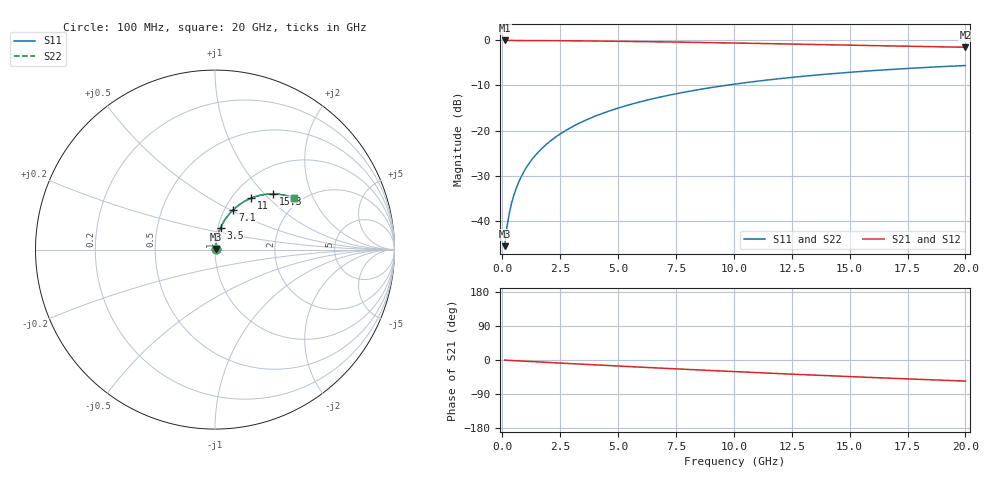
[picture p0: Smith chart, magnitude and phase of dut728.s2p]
! Touchstone file exported from HFSS 2026.1.0
!  File:  C:/ffzhzh/LocalFiles/Ansys_Project_Files/temp_train_BSMRDL_728_1783168477_43440.aedt
!  Generated:  08:36:01 PM Jul  4, 2026
!  Design:  BSMRDL
!  Project:  temp_train_BSMRDL_728_1783168477_43440
! Variables:
!  h_bsmrdl = 5.45um
!  h_ox = 20um
!  h_rdl = 5um
!  h_sub = 80um
!  h_tmrdl = 5um
!  h_tsv = 80um
!  h_via = 3um
!  l_bsmrdl = 839.75um
!  l_sub = 1239.75um
!  l_tmrdl = 200um
!  m_sub = 200um
!  pitch = 49.65um
!  r_tsv = 6um
!  s_tmrdl = 10um
!  w_bsmrdl = 15.97um
!  w_sub = 500um
!  w_tmrdl = 12um
!  x_tsv_center1 = 206um
!  x_tsv_center2 = 1061.72um
!  x_tsv_center3 = 1273.72um
!  x_tsv_center4 = 2129.44um
!  x_tsv_center5 = 2341.44um
!  x_tsv_center6 = 3197.16um
# GHz S MA R 50.000000
! Terminal data exported
! Port[1] = BSM_RDL1_1_T1
! Port[2] = BSM_RDL1_1_T2
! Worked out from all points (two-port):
!   200 points, 100 MHz to 20 GHz, reference 50 ohm
!   highest |S21| = -0.03 dB at 100 MHz (marker M1); lowest = -1.5 dB at 20 GHz (marker M2)
!   |S21| within 3 dB of the highest: start of sweep to end of sweep
!   lowest |S11| = -45.6 dB at 100 MHz (marker M3), VSWR 1.01, Z = 50.4 + j0.391 ohm
!   |S11| at or under -10 dB: start of sweep to 9.628 GHz
!   |S22| runs from -45.6 to -5.6 dB; largest |S21 - S12| = 1.8e-14
!   S11 on the Smith chart (normalised r, x): 100 MHz: 1.01, +0.01; 3.5 GHz: 1.03, +0.26; 7.1 GHz: 1.10, +0.52; 11 GHz: 1.22, +0.80; 15.3 GHz: 1.44, +1.12; 20 GHz: 1.84, +1.45
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0.1  0.005239 47.8  0.9965 -0.3  0.9965 -0.3  0.005239 47.8
! Gamma 0 0 0 0
! Port Impedance 50 0 50 0
0.2  0.008535 64.2  0.9963 -0.7  0.9963 -0.7  0.008535 64.2
0.3  0.01208 70.8  0.9962 -1.0  0.9962 -1.0  0.01208 70.9
0.4  0.01567 74.4  0.996 -1.3  0.996 -1.3  0.01567 74.4
0.5  0.01928 76.5  0.9959 -1.7  0.9959 -1.7  0.01928 76.5
0.7  0.02656 78.8  0.9956 -2.3  0.9956 -2.3  0.02656 78.8
1  0.03752 80.1  0.995 -3.3  0.995 -3.3  0.03752 80.1
1.4  0.05213 80.4  0.9941 -4.6  0.9941 -4.6  0.05213 80.4
2  0.07389 79.5  0.9921 -6.5  0.9921 -6.5  0.07389 79.5
2.7  0.0989 77.8  0.9892 -8.7  0.9892 -8.7  0.0989 77.9
3.5  0.1269 75.7  0.9852 -11.3  0.9852 -11.3  0.1269 75.7
4.2  0.1507 73.7  0.981 -13.5  0.981 -13.5  0.1507 73.7
5  0.1774 71.4  0.9758 -15.9  0.9758 -15.9  0.1774 71.4
6.8  0.2345 66.2  0.9623 -21.3  0.9623 -21.3  0.2345 66.3
7.1  0.2437 65.4  0.9598 -22.2  0.9598 -22.2  0.2437 65.4
8.5  0.2849 61.5  0.9477 -26.3  0.9477 -26.3  0.2849 61.5
10.1  0.3289 57.1  0.9327 -30.8  0.9327 -30.8  0.3289 57.2
11  0.3521 54.7  0.924 -33.3  0.924 -33.3  0.3521 54.8
13.4  0.4087 48.5  0.9001 -39.7  0.9001 -39.7  0.4087 48.6
15.3  0.448 43.8  0.8811 -44.6  0.8811 -44.6  0.448 43.8
16.7  0.474 40.5  0.8675 -48.0  0.8675 -48.0  0.474 40.5
20  0.5257 32.9  0.8375 -55.7  0.8375 -55.7  0.5257 33.0
